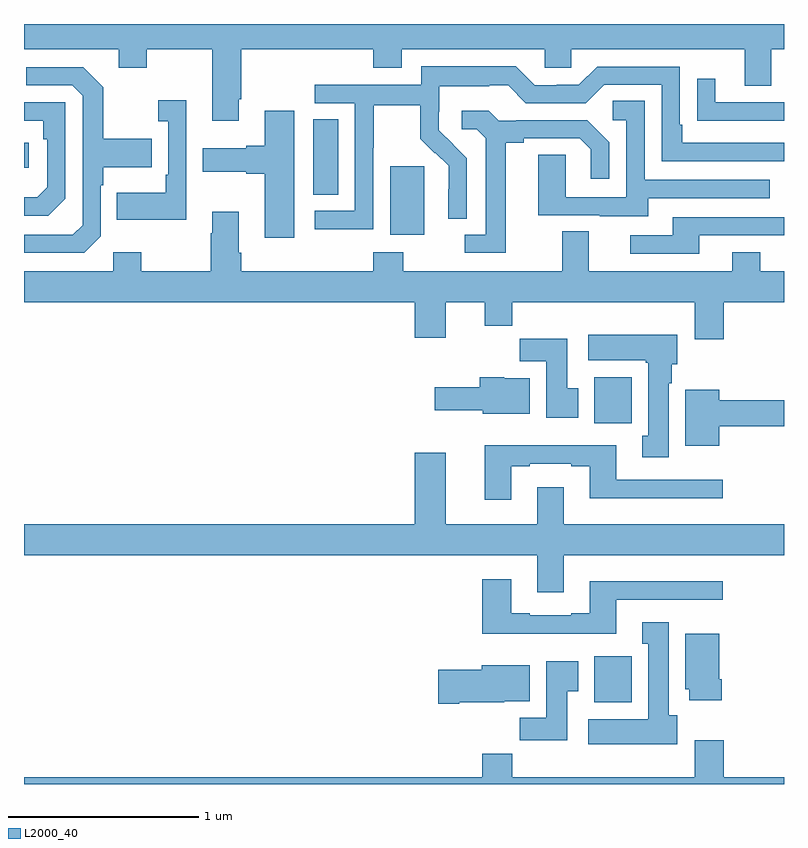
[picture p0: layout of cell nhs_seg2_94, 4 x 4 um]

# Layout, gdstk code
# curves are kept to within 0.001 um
import gdstk
lib = gdstk.Library(unit=1e-6, precision=1e-09)
def R(c, l, rs):  # rectangles x0, y0, x1, y1
    for r in rs: c.add(gdstk.rectangle(r[:2], r[2:], *l))
def P(c, l, *ps):  # polygons
    for p in ps: c.add(gdstk.Polygon(p, *l))
L2000_40 = (2000, 40)

nhs_seg2_94 = lib.new_cell('nhs_seg2_94')
R(nhs_seg2_94, L2000_40, [(118.001,612.23,118.198,612.472), (118.001,613.7,118.198,613.942), (116.927,614.69,117.106,615.051), (116.522,614.902,116.653,615.299), (115,615.044,115.024,615.174)])
P(nhs_seg2_94, L2000_40, [(116.131,615.403),(116.144,615.403),(116.144,615.668),(116.837,615.668),(116.837,615.569),(116.989,615.569),(116.989,615.668),(117.741,615.668),(117.741,615.57),(117.879,615.57),(117.879,615.668),(118.793,615.668),(118.793,615.474),(118.933,615.474),(118.933,615.668),(119,615.668),(119,615.8),(115,615.8),(115,615.668),(115.499,615.668),(115.499,615.569),(115.647,615.569),(115.647,615.668),(115.991,615.668),(115.991,615.291),(116.131,615.291)],
  [(116.838,615.148),(116.841,615.148),(116.841,615.372),(117.085,615.372),(117.085,615.197),(117.162,615.12),(117.165,615.123),(117.236,615.053),(117.236,614.93),(117.234,614.93),(117.234,614.776),(117.33,614.776),(117.33,615.094),(117.184,615.242),(117.184,615.339),(117.186,615.339),(117.186,615.473),(117.449,615.473),(117.449,615.477),(117.549,615.477),(117.642,615.384),(117.957,615.384),(118.053,615.48),(118.356,615.48),(118.356,615.078),(119,615.078),(119,615.174),(118.465,615.174),(118.465,615.271),(118.452,615.271),(118.452,615.576),(118.017,615.576),(117.921,615.48),(117.803,615.48),(117.803,615.477),(117.687,615.477),(117.587,615.577),(117.09,615.577),(117.09,615.48),(116.529,615.48),(116.529,615.384),(116.742,615.384),(116.742,614.817),(116.529,614.817),(116.529,614.719),(116.838,614.719)],
  [(115.404,614.682),(115.404,614.951),(115.417,614.951),(115.417,615.047),(115.673,615.047),(115.673,615.195),(115.417,615.195),(115.417,615.467),(115.311,615.573),(115.011,615.573),(115.011,615.477),(115.254,615.477),(115.308,615.423),(115.308,614.742),(115.257,614.691),(115,614.691),(115,614.595),(115.317,614.595)],
  [(119,615.387),(118.639,615.387),(118.639,615.511),(118.543,615.511),(118.543,615.292),(118.645,615.292),(118.645,615.291),(119,615.291)],
  [(115.854,615.4),(115.707,615.4),(115.707,615.287),(115.758,615.287),(115.758,615.007),(115.746,615.007),(115.746,614.911),(115.489,614.911),(115.489,614.771),(115.854,614.771)],
  [(118.285,614.883),(118.925,614.883),(118.925,614.979),(118.266,614.979),(118.266,615.395),(118.098,615.395),(118.098,615.294),(118.17,615.294),(118.17,614.889),(117.852,614.889),(117.852,615.113),(117.707,615.113),(117.707,614.793),(118.031,614.793),(118.031,614.789),(118.285,614.789)],
  [(115.218,614.88),(115.218,615.387),(115,615.387),(115,615.291),(115.102,615.291),(115.102,615.194),(115.122,615.194),(115.122,614.94),(115.069,614.887),(115,614.887),(115,614.79),(115.128,614.79)],
  [(117.535,615.176),(117.631,615.176),(117.631,615.198),(117.926,615.198),(117.983,615.141),(117.983,614.985),(118.08,614.985),(118.08,615.178),(117.964,615.294),(117.592,615.294),(117.592,615.291),(117.498,615.291),(117.446,615.343),(117.303,615.343),(117.303,615.246),(117.384,615.246),(117.431,615.199),(117.431,614.691),(117.321,614.691),(117.321,614.595),(117.535,614.595)],
  [(116.422,615.343),(116.267,615.343),(116.267,615.158),(116.171,615.158),(116.171,615.145),(115.941,615.145),(115.941,615.023),(116.171,615.023),(116.171,615.011),(116.267,615.011),(116.267,614.676),(116.422,614.676)],
  [(118.682,614.336),(119,614.336),(119,614.5),(118.875,614.5),(118.875,614.599),(118.727,614.599),(118.727,614.5),(117.973,614.5),(117.973,614.708),(117.833,614.708),(117.833,614.5),(116.997,614.5),(116.997,614.599),(116.837,614.599),(116.837,614.5),(116.144,614.5),(116.144,614.596),(116.131,614.596),(116.131,614.812),(115.991,614.812),(115.991,614.699),(115.984,614.699),(115.984,614.5),(115.617,614.5),(115.617,614.599),(115.47,614.599),(115.47,614.5),(115,614.5),(115,614.336),(117.056,614.336),(117.056,614.148),(117.22,614.148),(117.22,614.336),(117.425,614.336),(117.425,614.212),(117.569,614.212),(117.569,614.336),(118.529,614.336),(118.529,614.142),(118.682,614.142)],
  [(118.555,614.688),(119,614.688),(119,614.784),(118.415,614.784),(118.415,614.688),(118.191,614.688),(118.191,614.592),(118.555,614.592)],
  [(118.393,613.91),(118.408,613.91),(118.408,614.01),(118.438,614.01),(118.438,614.164),(117.969,614.164),(117.969,614.03),(118.273,614.03),(118.273,614.017),(118.286,614.017),(118.286,613.634),(118.253,613.634),(118.253,613.521),(118.393,613.521)],
  [(117.916,613.884),(117.859,613.884),(117.859,614.143),(117.61,614.143),(117.61,614.024),(117.749,614.024),(117.749,613.728),(117.916,613.728)],
  [(117.661,613.936),(117.528,613.936),(117.528,613.942),(117.398,613.942),(117.398,613.888),(117.162,613.888),(117.162,613.766),(117.414,613.766),(117.414,613.748),(117.661,613.748)],
  [(118.66,613.684),(119,613.684),(119,613.82),(118.66,613.82),(118.66,613.876),(118.481,613.876),(118.481,613.58),(118.66,613.58)],
  [(117.565,613.473),(117.661,613.473),(117.661,613.485),(117.881,613.485),(117.881,613.473),(117.977,613.473),(117.977,613.304),(118.678,613.304),(118.678,613.401),(118.117,613.401),(118.117,613.582),(117.425,613.582),(117.425,613.296),(117.565,613.296)],
  [(117.841,613.004),(119,613.004),(119,613.168),(117.841,613.168),(117.841,613.363),(117.701,613.363),(117.701,613.168),(117.22,613.168),(117.22,613.543),(117.056,613.543),(117.056,613.168),(115,613.168),(115,613.004),(117.701,613.004),(117.701,612.81),(117.841,612.81)],
  [(118.117,612.771),(118.678,612.771),(118.678,612.868),(117.977,612.868),(117.977,612.7),(117.881,612.7),(117.881,612.687),(117.661,612.687),(117.661,612.7),(117.565,612.7),(117.565,612.877),(117.413,612.877),(117.413,612.59),(118.117,612.59)],
  [(118.438,612.162),(118.393,612.162),(118.393,612.652),(118.253,612.652),(118.253,612.539),(118.286,612.539),(118.286,612.142),(117.969,612.142),(117.969,612.008),(118.438,612.008)],
  [(118.673,612.352),(118.66,612.352),(118.66,612.592),(118.481,612.592),(118.481,612.3),(118.502,612.3),(118.502,612.24),(118.673,612.24)],
  [(117.859,612.289),(117.916,612.289),(117.916,612.445),(117.749,612.445),(117.749,612.148),(117.61,612.148),(117.61,612.03),(117.859,612.03)],
  [(117.292,612.23),(117.528,612.23),(117.528,612.236),(117.661,612.236),(117.661,612.424),(117.41,612.424),(117.41,612.401),(117.18,612.401),(117.18,612.223),(117.292,612.223)],
  [(119,611.836),(118.682,611.836),(118.682,612.031),(118.529,612.031),(118.529,611.836),(117.569,611.836),(117.569,611.96),(117.413,611.96),(117.413,611.836),(115,611.836),(115,611.8),(119,611.8)])

lib.write_gds('nhs_seg2_94.gds')
